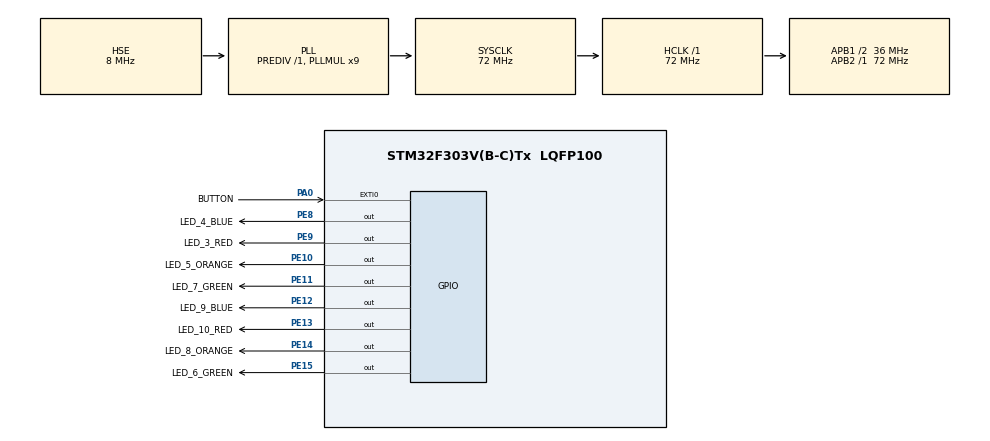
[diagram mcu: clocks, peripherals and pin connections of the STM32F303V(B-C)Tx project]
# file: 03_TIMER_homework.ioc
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Mcu.Family=STM32F3
Mcu.Name=STM32F303V(B-C)Tx
Mcu.Package=LQFP100
NVIC.EXTI0_IRQn=true\:0\:0\:false\:false\:true\:true
NVIC.PriorityGroup=NVIC_PRIORITYGROUP_4
NVIC.TIM3_IRQn=true\:0\:0\:false\:false\:true\:true
PA0.GPIO_Label=BUTTON
PA0.GPIO_ModeDefaultEXTI=GPIO_MODE_IT_RISING
PA0.Signal=GPXTI0
PE10.GPIO_Label=LED_5_ORANGE
PE10.Signal=GPIO_Output
PE11.GPIO_Label=LED_7_GREEN
PE11.Signal=GPIO_Output
PE12.GPIO_Label=LED_9_BLUE
PE12.Signal=GPIO_Output
PE13.GPIO_Label=LED_10_RED
PE13.Signal=GPIO_Output
PE14.GPIO_Label=LED_8_ORANGE
PE14.Signal=GPIO_Output
PE15.GPIO_Label=LED_6_GREEN
PE15.Signal=GPIO_Output
PE8.GPIO_Label=LED_4_BLUE
PE8.Signal=GPIO_Output
PE9.GPIO_Label=LED_3_RED
PE9.Signal=GPIO_Output
PF0-OSC_IN.Mode=HSE-External-Oscillator
PF0-OSC_IN.Signal=RCC_OSC_IN
PF1-OSC_OUT.Mode=HSE-External-Oscillator
PF1-OSC_OUT.Signal=RCC_OSC_OUT
ProjectManager.HeapSize=0x200
ProjectManager.StackSize=0x400
ProjectManager.TargetToolchain=SW4STM32
RCC.AHBFreq_Value=72000000
RCC.APB1CLKDivider=RCC_HCLK_DIV2
RCC.APB1Freq_Value=36000000
RCC.APB1TimFreq_Value=72000000
RCC.APB2Freq_Value=72000000
RCC.APB2TimFreq_Value=72000000
RCC.CortexFreq_Value=72000000
RCC.HCLKFreq_Value=72000000
RCC.HSE_VALUE=8000000
RCC.HSI_VALUE=8000000
RCC.LSE_VALUE=32768
RCC.PLLMUL=RCC_PLL_MUL9
RCC.PLLSourceVirtual=RCC_PLLSOURCE_HSE
RCC.SYSCLKFreq_VALUE=72000000
RCC.SYSCLKSourceVirtual=RCC_SYSCLKSOURCE_PLLCLK
RCC.USBFreq_Value=72000000
TIM3.Period=719
TIM3.Prescaler=9999
VP_TIM3_VS_ClockSourceINT.Mode=Internal
board=03_TIMER_homework

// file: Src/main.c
/**
  ******************************************************************************
  * @file           : main.c
  * @brief          : Main program body
  ******************************************************************************
  ** This notice applies to any and all portions of this file
  * that are not between comment pairs USER CODE BEGIN and
  * USER CODE END. Other portions of this file, whether
  * inserted by the user or by software development tools
  * are owned by their respective copyright owners.
  *
  * COPYRIGHT(c) 2018 STMicroelectronics
  *
  * Redistribution and use in source and binary forms, with or without modification,
  * are permitted provided that the following conditions are met:
  *   1. Redistributions of source code must retain the above copyright notice,
  *      this list of conditions and the following disclaimer.
  *   2. Redistributions in binary form must reproduce the above copyright notice,
  *      this list of conditions and the following disclaimer in the documentation
  *      and/or other materials provided with the distribution.
  *   3. Neither the name of STMicroelectronics nor the names of its contributors
  *      may be used to endorse or promote products derived from this software
  *      without specific prior written permission.
  *
  * THIS SOFTWARE IS PROVIDED BY THE COPYRIGHT HOLDERS AND CONTRIBUTORS "AS IS"
  * AND ANY EXPRESS OR IMPLIED WARRANTIES, INCLUDING, BUT NOT LIMITED TO, THE
  * IMPLIED WARRANTIES OF MERCHANTABILITY AND FITNESS FOR A PARTICULAR PURPOSE ARE
  * DISCLAIMED. IN NO EVENT SHALL THE COPYRIGHT HOLDER OR CONTRIBUTORS BE LIABLE
  * FOR ANY DIRECT, INDIRECT, INCIDENTAL, SPECIAL, EXEMPLARY, OR CONSEQUENTIAL
  * DAMAGES (INCLUDING, BUT NOT LIMITED TO, PROCUREMENT OF SUBSTITUTE GOODS OR
  * SERVICES; LOSS OF USE, DATA, OR PROFITS; OR BUSINESS INTERRUPTION) HOWEVER
  * CAUSED AND ON ANY THEORY OF LIABILITY, WHETHER IN CONTRACT, STRICT LIABILITY,
  * OR TORT (INCLUDING NEGLIGENCE OR OTHERWISE) ARISING IN ANY WAY OUT OF THE USE
  * OF THIS SOFTWARE, EVEN IF ADVISED OF THE POSSIBILITY OF SUCH DAMAGE.
  *
  ******************************************************************************
  */
#include "main.h"
#include "stm32f3xx_hal.h"

TIM_HandleTypeDef htim3;

/* USER CODE BEGIN PV */
/* Private variables ---------------------------------------------------------*/
typedef enum
{
  LED3 = 0,
  LED4 = 1,
  LED5 = 2,
  LED6 = 3,
  LED7 = 4,
  LED8 = 5,
  LED9 = 6,
  LED10 = 7
} Led_TypeDef;

#define LEDn 8

uint16_t GPIO_PIN[LEDn] = {LED_3_RED_Pin, LED_4_BLUE_Pin, LED_5_ORANGE_Pin, LED_6_GREEN_Pin,
		LED_7_GREEN_Pin, LED_8_ORANGE_Pin, LED_9_BLUE_Pin, LED_10_RED_Pin};

GPIO_TypeDef* GPIO_PORT[LEDn] = {LED_3_RED_GPIO_Port, LED_4_BLUE_GPIO_Port, LED_5_ORANGE_GPIO_Port,
                                 LED_6_GREEN_GPIO_Port, LED_7_GREEN_GPIO_Port, LED_8_ORANGE_GPIO_Port,
                                 LED_9_BLUE_GPIO_Port, LED_10_RED_GPIO_Port };
uint8_t LED_SEQ[LEDn] = {LED3, LED5, LED7, LED9, LED10, LED8, LED6, LED4};
/* USER CODE END PV */

void SystemClock_Config(void);
static void MX_GPIO_Init(void);
static void MX_TIM3_Init(void);

/* USER CODE BEGIN PFP */
/* Private function prototypes -----------------------------------------------*/
void HAL_TIM_PeriodElapsedCallback(TIM_HandleTypeDef *htim)
{
	 if(htim->Instance == TIM3)
	 { // Je¿eli przerwanie pochodzi od timera 10
		static uint8_t indeks = 0;
		static uint8_t zapal = 1;
		static uint8_t czekaj = 0;

		if(czekaj) czekaj--;
		else
		{
			if(zapal) HAL_GPIO_WritePin(GPIO_PORT[LED_SEQ[indeks]], GPIO_PIN[LED_SEQ[indeks]], GPIO_PIN_SET);
			else HAL_GPIO_WritePin(GPIO_PORT[LED_SEQ[indeks]], GPIO_PIN[LED_SEQ[indeks]], GPIO_PIN_RESET);

			if(++indeks >= LEDn)
			{
				indeks = 0;
				if(zapal) zapal = 0;
				else
				{
					zapal = 1;
					czekaj = 10;
				}
			}
		}
	 }
}
/* USER CODE END PFP */

int main(void)
{

  /* MCU Configuration----------------------------------------------------------*/

  /* Reset of all peripherals, Initializes the Flash interface and the Systick. */
  HAL_Init();

  /* Configure the system clock */
  SystemClock_Config();

  /* Initialize all configured peripherals */
  MX_GPIO_Init();
  MX_TIM3_Init();
  /* USER CODE BEGIN 2 */
  HAL_TIM_Base_Start_IT(&htim3);
  /* USER CODE END 2 */

  /* Infinite loop */
  while (1)
  {

  }

}

void SystemClock_Config(void)
{

  RCC_OscInitTypeDef RCC_OscInitStruct;
  RCC_ClkInitTypeDef RCC_ClkInitStruct;

    /**Initializes the CPU, AHB and APB busses clocks
    */
  RCC_OscInitStruct.OscillatorType = RCC_OSCILLATORTYPE_HSE;
  RCC_OscInitStruct.HSEState = RCC_HSE_ON;
  RCC_OscInitStruct.HSEPredivValue = RCC_HSE_PREDIV_DIV1;
  RCC_OscInitStruct.HSIState = RCC_HSI_ON;
  RCC_OscInitStruct.PLL.PLLState = RCC_PLL_ON;
  RCC_OscInitStruct.PLL.PLLSource = RCC_PLLSOURCE_HSE;
  RCC_OscInitStruct.PLL.PLLMUL = RCC_PLL_MUL9;
  if (HAL_RCC_OscConfig(&RCC_OscInitStruct) != HAL_OK)
  {
    _Error_Handler(__FILE__, __LINE__);
  }

    /**Initializes the CPU, AHB and APB busses clocks
    */
  RCC_ClkInitStruct.ClockType = RCC_CLOCKTYPE_HCLK|RCC_CLOCKTYPE_SYSCLK
                              |RCC_CLOCKTYPE_PCLK1|RCC_CLOCKTYPE_PCLK2;
  RCC_ClkInitStruct.SYSCLKSource = RCC_SYSCLKSOURCE_PLLCLK;
  RCC_ClkInitStruct.AHBCLKDivider = RCC_SYSCLK_DIV1;
  RCC_ClkInitStruct.APB1CLKDivider = RCC_HCLK_DIV2;
  RCC_ClkInitStruct.APB2CLKDivider = RCC_HCLK_DIV1;

  if (HAL_RCC_ClockConfig(&RCC_ClkInitStruct, FLASH_LATENCY_2) != HAL_OK)
  {
    _Error_Handler(__FILE__, __LINE__);
  }

    /**Configure the Systick interrupt time
    */
  HAL_SYSTICK_Config(HAL_RCC_GetHCLKFreq()/1000);

    /**Configure the Systick
    */
  HAL_SYSTICK_CLKSourceConfig(SYSTICK_CLKSOURCE_HCLK);

  /* SysTick_IRQn interrupt configuration */
  HAL_NVIC_SetPriority(SysTick_IRQn, 0, 0);
}

/* TIM3 init function */
static void MX_TIM3_Init(void)
{

  TIM_ClockConfigTypeDef sClockSourceConfig;
  TIM_MasterConfigTypeDef sMasterConfig;

  htim3.Instance = TIM3;
  htim3.Init.Prescaler = 9999;
  htim3.Init.CounterMode = TIM_COUNTERMODE_UP;
  htim3.Init.Period = 719;
  htim3.Init.ClockDivision = TIM_CLOCKDIVISION_DIV1;
  htim3.Init.AutoReloadPreload = TIM_AUTORELOAD_PRELOAD_DISABLE;
  if (HAL_TIM_Base_Init(&htim3) != HAL_OK)
  {
    _Error_Handler(__FILE__, __LINE__);
  }

  sClockSourceConfig.ClockSource = TIM_CLOCKSOURCE_INTERNAL;
  if (HAL_TIM_ConfigClockSource(&htim3, &sClockSourceConfig) != HAL_OK)
  {
    _Error_Handler(__FILE__, __LINE__);
  }

  sMasterConfig.MasterOutputTrigger = TIM_TRGO_RESET;
  sMasterConfig.MasterSlaveMode = TIM_MASTERSLAVEMODE_DISABLE;
  if (HAL_TIMEx_MasterConfigSynchronization(&htim3, &sMasterConfig) != HAL_OK)
  {
    _Error_Handler(__FILE__, __LINE__);
  }

}

/** Configure pins as
        * Analog
        * Input
        * Output
        * EVENT_OUT
        * EXTI
*/
static void MX_GPIO_Init(void)
{

  GPIO_InitTypeDef GPIO_InitStruct;

  /* GPIO Ports Clock Enable */
  __HAL_RCC_GPIOF_CLK_ENABLE();
  __HAL_RCC_GPIOA_CLK_ENABLE();
  __HAL_RCC_GPIOE_CLK_ENABLE();

  /*Configure GPIO pin Output Level */
  HAL_GPIO_WritePin(GPIOE, LED_4_BLUE_Pin|LED_3_RED_Pin|LED_5_ORANGE_Pin|LED_7_GREEN_Pin
                          |LED_9_BLUE_Pin|LED_10_RED_Pin|LED_8_ORANGE_Pin|LED_6_GREEN_Pin, GPIO_PIN_RESET);

  /*Configure GPIO pin : BUTTON_Pin */
  GPIO_InitStruct.Pin = BUTTON_Pin;
  GPIO_InitStruct.Mode = GPIO_MODE_IT_RISING;
  GPIO_InitStruct.Pull = GPIO_NOPULL;
  HAL_GPIO_Init(BUTTON_GPIO_Port, &GPIO_InitStruct);

  /*Configure GPIO pins : LED_4_BLUE_Pin LED_3_RED_Pin LED_5_ORANGE_Pin LED_7_GREEN_Pin
                           LED_9_BLUE_Pin LED_10_RED_Pin LED_8_ORANGE_Pin LED_6_GREEN_Pin */
  GPIO_InitStruct.Pin = LED_4_BLUE_Pin|LED_3_RED_Pin|LED_5_ORANGE_Pin|LED_7_GREEN_Pin
                          |LED_9_BLUE_Pin|LED_10_RED_Pin|LED_8_ORANGE_Pin|LED_6_GREEN_Pin;
  GPIO_InitStruct.Mode = GPIO_MODE_OUTPUT_PP;
  GPIO_InitStruct.Pull = GPIO_NOPULL;
  GPIO_InitStruct.Speed = GPIO_SPEED_FREQ_LOW;
  HAL_GPIO_Init(GPIOE, &GPIO_InitStruct);

  /* EXTI interrupt init*/
  HAL_NVIC_SetPriority(EXTI0_IRQn, 0, 0);
  HAL_NVIC_EnableIRQ(EXTI0_IRQn);

}

void _Error_Handler(char *file, int line)
{
  while(1)
  {
  }
}

/************************ (C) COPYRIGHT STMicroelectronics *****END OF FILE****/
